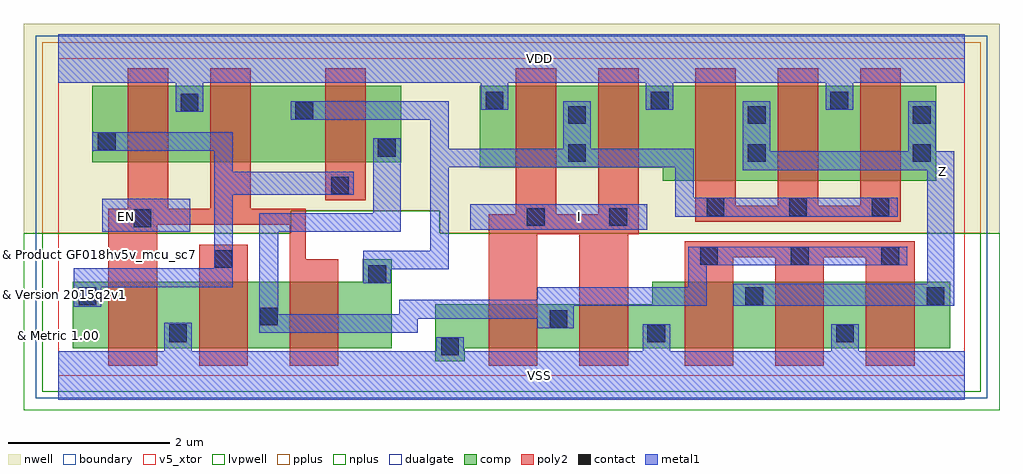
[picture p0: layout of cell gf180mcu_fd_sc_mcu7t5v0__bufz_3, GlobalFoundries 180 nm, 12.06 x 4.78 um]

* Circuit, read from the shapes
.subckt gf180mcu_fd_sc_mcu7t5v0__bufz_3 EN I VDD VSS Z
XM1 VSS EN n1 VSUBS nfet_05v0 w=0.82u l=0.6u
XM2 n2 n1 VSS VSUBS nfet_05v0 w=0.82u l=0.6u
XM3 n3 EN n2 VSUBS nfet_05v0 w=0.82u l=0.6u
XM4 n2 I VSS VSUBS nfet_05v0 w=0.54u l=0.6u m=2
XM5 Z n2 VSS VSUBS nfet_05v0 w=0.82u l=0.6u m=3
XM6 VDD EN n1 n4 pfet_05v0 w=0.945u l=0.5u
XM7 n3 EN VDD n4 pfet_05v0 w=0.945u l=0.5u
XM8 n2 n1 n3 n4 pfet_05v0 w=0.945u l=0.5u
XM9 n3 I VDD n4 pfet_05v0 w=1.01u l=0.5u m=2
XM10 Z n3 VDD n4 pfet_05v0 w=1.175u l=0.5u m=3
.ends

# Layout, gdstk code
import gdstk
lib = gdstk.Library(unit=1e-6, precision=1e-09)
def R(c, l, rs):  # rectangles x0, y0, x1, y1
    for r in rs: c.add(gdstk.rectangle(r[:2], r[2:], *l))
def A(c, l, x, y, w, h, nx, ny, dx, dy):  # array of equal rectangles
    R(c, l, [(x+i*dx, y+j*dy, x+i*dx+w, y+j*dy+h) for i in range(nx) for j in range(ny)])
def P(c, l, *ps):  # polygons
    for p in ps: c.add(gdstk.Polygon(p, *l))
boundary = (0, 0)
nwell = (21, 0)
comp = (22, 0)
poly2 = (30, 0)
pplus = (31, 0)
nplus = (32, 0)
contact = (33, 0)
metal1 = (34, 0)
dualgate = (55, 0)
v5_xtor = (112, 1)
lvpwell = (204, 0)

gf180mcu_fd_sc_mcu7t5v0_ = lib.new_cell('gf180mcu_fd_sc_mcu7t5v0__bufz_3')
R(gf180mcu_fd_sc_mcu7t5v0_, boundary, [(0,0,11.2,3.92)])
P(gf180mcu_fd_sc_mcu7t5v0_, nwell, [(-0.43,1.76),(-0.43,4.35),(11.63,4.35),(11.63,1.76),(4.715,1.76),(4.715,2.035),(2.875,2.035),(2.875,1.76)])
R(gf180mcu_fd_sc_mcu7t5v0_, comp, [(0.42,2.635,4.24,3.58)])
P(gf180mcu_fd_sc_mcu7t5v0_, comp, [(0.18,0.34),(0.18,1.16),(3.76,1.16),(3.76,1.435),(4.12,1.435),(4.12,0.34)],
  [(7.47,2.405),(7.47,2.57),(5.21,2.57),(5.21,3.58),(10.85,3.58),(10.85,2.405)],
  [(4.66,0.18),(4.66,0.88),(7.34,0.88),(7.34,1.16),(11.02,1.16),(11.02,0.34),(5.02,0.34),(5.02,0.18)])
R(gf180mcu_fd_sc_mcu7t5v0_, poly2, [(1.74,0.12,2.34,1.62), (3.3,2.17,3.8,3.8)])
P(gf180mcu_fd_sc_mcu7t5v0_, poly2, [(0.62,0.12),(0.62,2.065),(0.86,2.065),(0.86,3.8),(1.36,3.8),(1.36,2.065),(1.88,2.065),(1.88,3.8),(2.38,3.8),(2.38,2.065),(3.06,2.065),(3.06,1.44),(3.46,1.44),(3.46,0.12),(2.86,0.12),(2.86,1.865),(1.22,1.865),(1.22,0.12)],
  [(5.32,0.12),(5.32,1.995),(5.65,1.995),(5.65,3.8),(6.15,3.8),(6.15,1.995),(6.67,1.995),(6.67,3.8),(7.17,3.8),(7.17,1.745),(7.04,1.745),(7.04,0.12),(6.44,0.12),(6.44,1.745),(5.92,1.745),(5.92,0.12)],
  [(7.87,1.9),(7.87,3.8),(8.37,3.8),(8.37,2.1),(8.89,2.1),(8.89,3.8),(9.39,3.8),(9.39,2.1),(9.91,2.1),(9.91,3.8),(10.41,3.8),(10.41,1.9)],
  [(7.74,0.12),(7.74,1.66),(10.58,1.66),(10.58,0.12),(9.98,0.12),(9.98,1.46),(9.46,1.46),(9.46,0.12),(8.86,0.12),(8.86,1.46),(8.34,1.46),(8.34,0.12)])
P(gf180mcu_fd_sc_mcu7t5v0_, pplus, [(-0.2,1.76),(-0.2,4.12),(11.4,4.12),(11.4,1.76),(4.715,1.76),(4.715,2.035),(2.875,2.035),(2.875,1.76)])
P(gf180mcu_fd_sc_mcu7t5v0_, nplus, [(-0.2,-0.2),(-0.2,1.76),(2.875,1.76),(2.875,2.035),(4.715,2.035),(4.715,1.76),(11.4,1.76),(11.4,-0.2)])
A(gf180mcu_fd_sc_mcu7t5v0_, contact, 7.93, 1.37, 0.22, 0.22, 3, 1, 1.12, 0)
A(gf180mcu_fd_sc_mcu7t5v0_, contact, 8.01, 1.97, 0.22, 0.22, 3, 1, 1.02, 0)
R(gf180mcu_fd_sc_mcu7t5v0_, contact, [(4.73,0.25,4.95,0.47), (7.28,0.41,7.5,0.63), (9.61,0.41,9.83,0.63), (1.37,0.415,1.59,0.635), (6.07,0.59,6.29,0.81), (2.49,0.62,2.71,0.84), (0.25,0.87,0.47,1.09), (8.49,0.87,8.71,1.09), (10.73,0.87,10.95,1.09), (3.83,1.145,4.05,1.365), (1.93,1.33,2.15,1.55), (0.93,1.835,1.15,2.055), (5.79,1.85,6.01,2.07), (6.81,1.85,7.03,2.07), (3.37,2.24,3.59,2.46), (6.3,2.64,6.52,2.86), (8.52,2.64,8.74,2.86), (10.56,2.64,10.78,2.86), (3.95,2.705,4.17,2.925), (0.49,2.785,0.71,3.005), (6.3,3.11,6.52,3.33), (8.52,3.11,8.74,3.33), (10.56,3.11,10.78,3.33), (2.93,3.165,3.15,3.385), (1.51,3.265,1.73,3.485), (5.28,3.29,5.5,3.51), (7.32,3.29,7.54,3.51), (9.54,3.29,9.76,3.51)])
R(gf180mcu_fd_sc_mcu7t5v0_, metal1, [(0.545,1.775,1.63,2.185), (5.09,1.8,7.275,2.12)])
P(gf180mcu_fd_sc_mcu7t5v0_, metal1, [(0.19,0.85),(0.19,1.325),(1.925,1.325),(1.925,2.78),(0.42,2.78),(0.42,3.01),(2.155,3.01),(2.155,2.52),(3.65,2.52),(3.65,2.235),(2.155,2.235),(2.155,1.095),(0.53,1.095),(0.53,0.85)],
  [(3.77,1.14),(3.77,1.545),(4.595,1.545),(4.595,3.16),(2.87,3.16),(2.87,3.39),(4.825,3.39),(4.825,2.805),(6.24,2.805),(6.24,3.39),(6.58,3.39),(6.58,2.805),(7.855,2.805),(7.855,2.195),(10.37,2.195),(10.37,1.965),(7.625,1.965),(7.625,2.575),(4.825,2.575),(4.825,1.315),(4.11,1.315),(4.11,1.14)],
  [(2.485,0.53),(2.485,2.005),(3.89,2.005),(3.89,2.93),(4.23,2.93),(4.23,1.775),(2.715,1.775),(2.715,0.76),(4.215,0.76),(4.215,0.935),(5.92,0.935),(5.92,1.095),(7.785,1.095),(7.785,1.595),(10.49,1.595),(10.49,1.365),(8.015,1.365),(8.015,0.865),(6.37,0.865),(6.37,0.585),(5.92,0.585),(5.92,0.705),(4.44,0.705),(4.44,0.53)],
  [(8.34,0.865),(8.34,1.135),(10.74,1.135),(10.74,2.54),(8.46,2.54),(8.46,3.39),(8.8,3.39),(8.8,2.77),(10.5,2.77),(10.5,3.39),(10.84,3.39),(10.84,2.77),(11.07,2.77),(11.07,0.865)],
  [(0,-0.3),(0,0.3),(1.31,0.3),(1.31,0.655),(1.65,0.655),(1.65,0.3),(4.67,0.3),(4.67,0.475),(5.01,0.475),(5.01,0.3),(7.22,0.3),(7.22,0.635),(7.56,0.635),(7.56,0.3),(9.55,0.3),(9.55,0.635),(9.89,0.635),(9.89,0.3),(11.2,0.3),(11.2,-0.3)],
  [(1.45,3.26),(1.45,3.62),(0,3.62),(0,4.22),(11.2,4.22),(11.2,3.62),(9.82,3.62),(9.82,3.285),(9.48,3.285),(9.48,3.62),(7.6,3.62),(7.6,3.285),(7.26,3.285),(7.26,3.62),(5.56,3.62),(5.56,3.285),(5.22,3.285),(5.22,3.62),(1.79,3.62),(1.79,3.26)])
R(gf180mcu_fd_sc_mcu7t5v0_, dualgate, [(-0.28,-0.28,11.48,4.2)])
R(gf180mcu_fd_sc_mcu7t5v0_, v5_xtor, [(0,0,11.2,3.92)])
P(gf180mcu_fd_sc_mcu7t5v0_, lvpwell, [(-0.43,-0.43),(-0.43,1.76),(2.875,1.76),(2.875,2.035),(4.715,2.035),(4.715,1.76),(11.63,1.76),(11.63,-0.43)])
gf180mcu_fd_sc_mcu7t5v0_.add(gdstk.Label('EN', (0.84,1.96), layer=34, texttype=10))
gf180mcu_fd_sc_mcu7t5v0_.add(gdstk.Label('VDD', (5.94,3.92), layer=34, texttype=10))
gf180mcu_fd_sc_mcu7t5v0_.add(gdstk.Label('VSS', (5.94,0), layer=34, texttype=10))
gf180mcu_fd_sc_mcu7t5v0_.add(gdstk.Label('Z', (10.92,2.52), layer=34, texttype=10))
gf180mcu_fd_sc_mcu7t5v0_.add(gdstk.Label('I', (6.44,1.96), layer=34, texttype=10))
gf180mcu_fd_sc_mcu7t5v0_.add(gdstk.Label('& Vendor GLOBALFOUNDRIES', (0,2), layer=63, texttype=63))
gf180mcu_fd_sc_mcu7t5v0_.add(gdstk.Label('& Product GF018hv5v_mcu_sc7', (0,1.5), layer=63, texttype=63))
gf180mcu_fd_sc_mcu7t5v0_.add(gdstk.Label('& Version 2015q2v1', (0,1), layer=63, texttype=63))
gf180mcu_fd_sc_mcu7t5v0_.add(gdstk.Label('& Metric 1.00', (0,0.5), layer=63, texttype=63))

lib.write_gds('gf180mcu_fd_sc_mcu7t5v0__bufz_3.gds')
